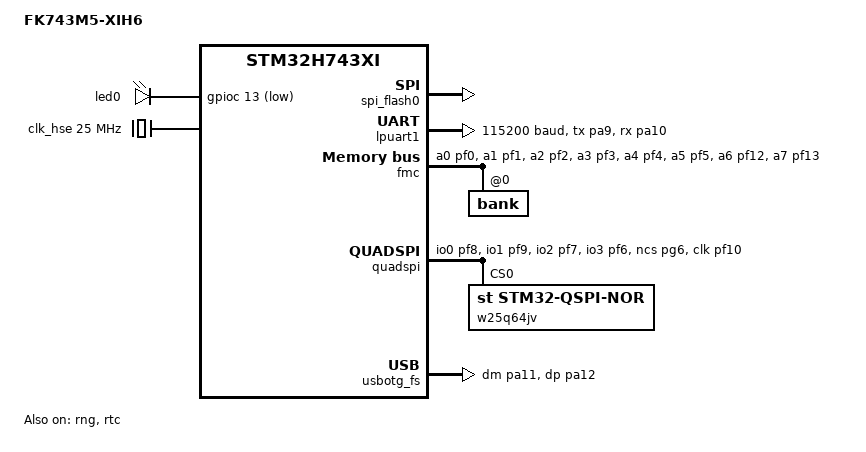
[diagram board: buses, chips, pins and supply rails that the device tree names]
/*
 * Copyright (c) 2025 Caspar Friedrich <c.s.w.friedrich@gmail.com>
 *
 * SPDX-License-Identifier: Apache-2.0
 */

/dts-v1/;

#include <st/h7/stm32h743Xi.dtsi>
#include <st/h7/stm32h743xihx-pinctrl.dtsi>

/ {
	model = "FK743M5-XIH6";
	compatible = "others,fk743m5-xih6";

	chosen {
		zephyr,code-partition = &slot0_partition;
		zephyr,console = &lpuart1;
		zephyr,dtcm = &dtcm;
		zephyr,flash = &flash0;
		zephyr,itcm = &itcm;
		zephyr,shell-uart = &lpuart1;
		zephyr,sram = &sram0;
		zephyr,uart-mcumgr = &lpuart1;
	};

	gpio_leds {
		compatible = "gpio-leds";

		led0: led {
			gpios = <&gpioc 13 GPIO_ACTIVE_LOW>;
		};
	};

	sdram1: sdram@c0000000 {
		compatible = "zephyr,memory-region", "mmio-sram";
		device_type = "memory";
		reg = <0xc0000000 DT_SIZE_M(32)>;
		zephyr,memory-region = "SDRAM1";
	};

	spi_flash0: memory@90000000 {
		compatible = "zephyr,memory-region";
		reg = <0x90000000 DT_SIZE_M(8)>;
		zephyr,memory-region = "EXTMEM";
	};

	aliases {
		led0 = &led0;
		spi-flash0 = &spi_flash0;
	};
};

&clk_hse {
	status = "okay";
	clock-frequency = <DT_FREQ_M(25)>;
};

&clk_lse {
	status = "okay";
};

&pll {
	status = "okay";
	clocks = <&clk_hse>;
	div-m = <5>;
	mul-n = <192>;
	div-p = <2>; /* 480 MHz */
	div-q = <4>; /* 240 MHz -> RNG/SDMMC1 */
	div-r = <2>; /* 480 MHz */
};

&pll3 {
	status = "okay";
	clocks = <&clk_hse>;
	div-m = <5>;
	mul-n = <192>;
	div-p = <2>;  /* 480 MHz */
	div-q = <20>; /*  48 MHz -> USB */
	div-r = <2>;  /* 480 MHz */
};

&rcc {
	status = "okay";
	clocks = <&pll>;
	clock-frequency = <DT_FREQ_M(480)>;
	d1cpre  = <1>; /* 480 MHz (CPU) */
	hpre    = <2>; /* 240 MHz (HCLK3) -> FMC/QUADSPI */
	d1ppre  = <2>; /* 120 MHz (PCLK3) -> LPUART1 */
	d2ppre1 = <2>; /* 120 MHz (PCLK1) */
	d2ppre2 = <2>; /* 120 MHz (PCLK2) -> SPI5 */
	d3ppre  = <2>; /* 120 MHz (PCLK4) */
};

&rng {
	status = "okay";
	clocks = <&rcc STM32_CLOCK(AHB2, 6U)>,
	         <&rcc STM32_SRC_PLL1_Q RNG_SEL(1)>;
};

&rtc {
	status = "okay";
	clocks = <&rcc STM32_CLOCK(APB4, 16U)>,
	         <&rcc STM32_SRC_LSE RTC_SEL(1)>;
};

&lpuart1 {
	status = "okay";
	pinctrl-0 = <&lpuart1_tx_pa9
	             &lpuart1_rx_pa10>;
	pinctrl-names = "default";
	current-speed = <115200>;
};

&fmc {
	status = "okay";
	pinctrl-0 = <&fmc_a0_pf0
	             &fmc_a1_pf1
	             &fmc_a2_pf2
	             &fmc_a3_pf3
	             &fmc_a4_pf4
	             &fmc_a5_pf5
	             &fmc_a6_pf12
	             &fmc_a7_pf13
	             &fmc_a8_pf14
	             &fmc_a9_pf15
	             &fmc_a10_pg0
	             &fmc_a11_pg1
	             &fmc_a12_pg2
	             &fmc_a14_pg4
	             &fmc_a15_pg5
	             &fmc_d0_pd14
	             &fmc_d1_pd15
	             &fmc_d2_pd0
	             &fmc_d3_pd1
	             &fmc_d4_pe7
	             &fmc_d5_pe8
	             &fmc_d6_pe9
	             &fmc_d7_pe10
	             &fmc_d8_pe11
	             &fmc_d9_pe12
	             &fmc_d10_pe13
	             &fmc_d11_pe14
	             &fmc_d12_pe15
	             &fmc_d13_pd8
	             &fmc_d14_pd9
	             &fmc_d15_pd10
	             &fmc_nbl0_pe0
	             &fmc_nbl1_pe1
	             &fmc_sdcke0_ph2
	             &fmc_sdclk_pg8
	             &fmc_sdncas_pg15
	             &fmc_sdne0_ph3
	             &fmc_sdnras_pf11
	             &fmc_sdnwe_pc0>;
	pinctrl-names = "default";

	sdram {
		status = "okay";
		power-up-delay = <100>;
		num-auto-refresh = <8>;
		mode-register = <0x220>;
		refresh-rate = <603>;

		bank@0 {
			reg = <0>;
			st,sdram-control = <STM32_FMC_SDRAM_NC_9
			                    STM32_FMC_SDRAM_NR_13
			                    STM32_FMC_SDRAM_MWID_16
			                    STM32_FMC_SDRAM_NB_4
			                    STM32_FMC_SDRAM_CAS_2
			                    STM32_FMC_SDRAM_SDCLK_PERIOD_2
			                    STM32_FMC_SDRAM_RBURST_ENABLE
			                    STM32_FMC_SDRAM_RPIPE_0>;
			st,sdram-timing = <2 6 4 6 2 2 2>;
		};
	};
};

&quadspi {
	status = "okay";
	pinctrl-0 = <&quadspi_bk1_io0_pf8
	             &quadspi_bk1_io1_pf9
	             &quadspi_bk1_io2_pf7
	             &quadspi_bk1_io3_pf6
	             &quadspi_bk1_ncs_pg6
	             &quadspi_clk_pf10>;
	pinctrl-names = "default";

	w25q64jv@0 {
		compatible = "st,stm32-qspi-nor";
		reg = <0>;
		size = <DT_SIZE_M(64)>;
		qspi-max-frequency = <DT_FREQ_M(50)>;
	};
};

&sdmmc1 {
	status = "disabled";
	pinctrl-0 = <&sdmmc1_d0_pc8
	             &sdmmc1_d1_pc9
	             &sdmmc1_d2_pc10
	             &sdmmc1_d3_pc11
	             &sdmmc1_ck_pc12
	             &sdmmc1_cmd_pd2>;
	pinctrl-names = "default";
};

/*
 * LCD1 (LCD connector)
 *
 * Additional signals:
 *     - LCD_BL_PH6
 *     - LCD_DC_PJ11
 */
&spi5 {
	status = "disabled";
	/*
	 * transmit only
	 */
	pinctrl-0 = <&spi5_mosi_pj10
	             &spi5_sck_pk0
	             &spi5_nss_ph5>;
	pinctrl-names = "default";
};

/*
 * CAMERA1 (CAMERA connector)
 *
 * Additional signals:
 *     - CAMERA_PWDN_PH13
 *     - SCCB_SCL_PI8
 *     - SCCB_SDA_PI9
 */
&dcmi {
	status = "disabled";
	pinctrl-0 = <&dcmi_d0_ph9
	             &dcmi_d1_ph10
	             &dcmi_d2_ph11
	             &dcmi_d3_ph12
	             &dcmi_d4_ph14
	             &dcmi_d5_pi4
	             &dcmi_d6_pi6
	             &dcmi_d7_pi7
	             &dcmi_pixclk_pa6
	             &dcmi_hsync_ph8
	             &dcmi_vsync_pi5>;
	pinctrl-names = "default";
};

/*
 * LCD2 (RGB connector)
 *
 * Additional signals:
 *     - TOUCH_INT_PI11
 *     - TOUCH_RST_PI10
 *     - TOUCH_SCLK_PG3
 *     - TOUCH_SDA_PG7
 */
&ltdc {
	status = "disabled";
	pinctrl-0 = <&ltdc_b0_pj12
	             &ltdc_b1_pj13
	             &ltdc_b2_pj14
	             &ltdc_b3_pj15
	             &ltdc_b4_pk3
	             &ltdc_b5_pk4
	             &ltdc_b6_pk5
	             &ltdc_b7_pk6
	             &ltdc_g0_pj7
	             &ltdc_g1_pj8
	             &ltdc_g2_pj9
	             &ltdc_g3_pg10
	             &ltdc_g4_ph15
	             &ltdc_g5_ph4
	             &ltdc_g6_pk1
	             &ltdc_g7_pk2
	             &ltdc_r0_pi15
	             &ltdc_r1_pj0
	             &ltdc_r2_pj1
	             &ltdc_r3_pj2
	             &ltdc_r4_pj3
	             &ltdc_r5_pj4
	             &ltdc_r6_pj5
	             &ltdc_r7_pj6
	             &ltdc_de_pk7
	             &ltdc_clk_pi14
	             &ltdc_hsync_pi12
	             &ltdc_vsync_pi13>;
	pinctrl-names = "default";
	ext-sdram = <&sdram1>;

	/*
	 * Configure the GPIO polarity according to LCD datasheet.
	 */
	bl-ctrl-gpios = <&gpioh 6 GPIO_ACTIVE_HIGH>;
};

zephyr_udc0: &usbotg_fs {
	status = "okay";
	pinctrl-0 = <&usb_otg_fs_dm_pa11
	             &usb_otg_fs_dp_pa12>;
	pinctrl-names = "default";
	clocks = <&rcc STM32_CLOCK(AHB1, 27U)>,
	         <&rcc STM32_SRC_PLL3_Q USB_SEL(2)>;
};

&flash0 {
	partitions {
		compatible = "fixed-partitions";
		#address-cells = <1>;
		#size-cells = <1>;

		boot_partition: partition@0 {
			label = "mcuboot";
			reg = <0x00000000 DT_SIZE_K(64)>;
			read-only;
		};

		slot0_partition: partition@10000 {
			label = "image-0";
			reg = <0x00010000 DT_SIZE_K(960)>;
		};

		slot1_partition: partition@100000 {
			label = "image-1";
			reg = <0x00100000 DT_SIZE_K(960)>;
		};

		storage_partition: partition@1f0000 {
			label = "storage";
			reg = <0x001f0000 DT_SIZE_K(64)>;
		};
	};
};
